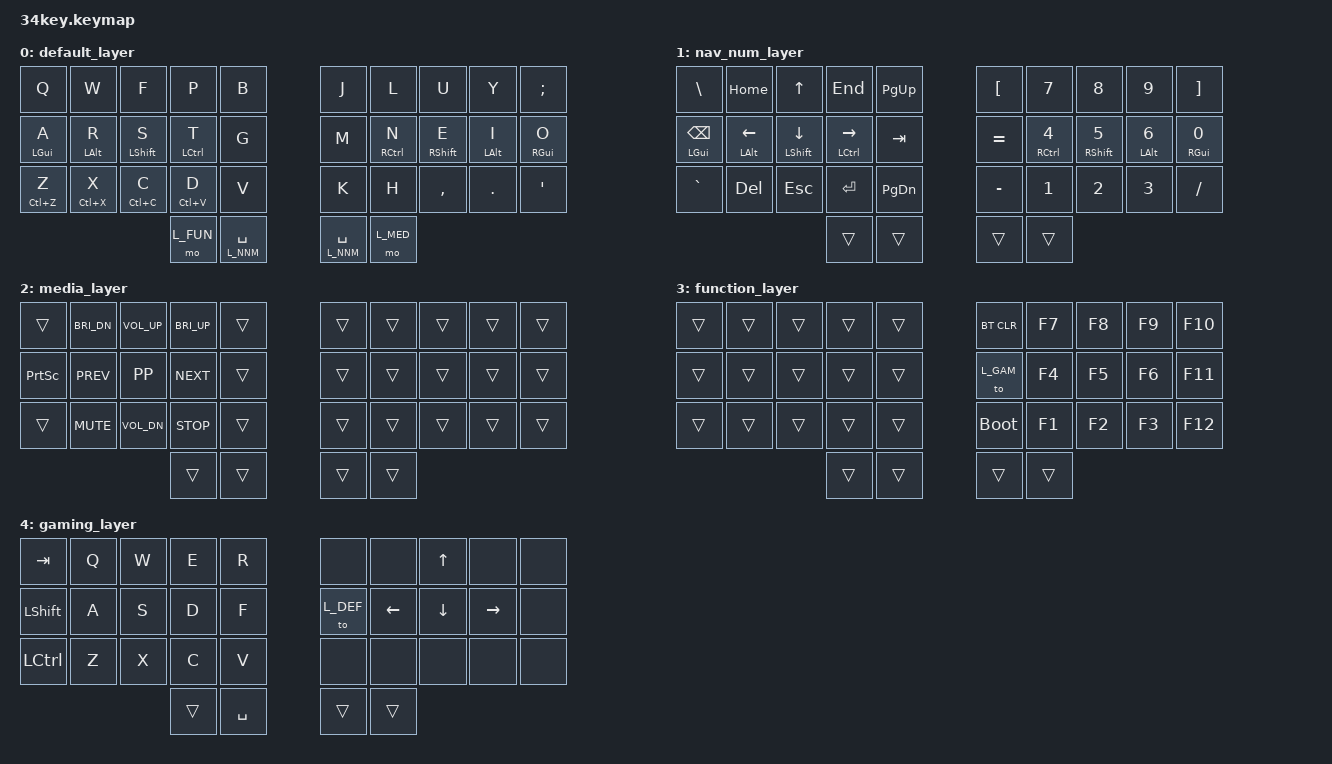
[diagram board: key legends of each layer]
/*
 * Copyright (c) 2020 The ZMK Contributors
 *
 * SPDX-License-Identifier: MIT
 */

#include <behaviors.dtsi>
#include <dt-bindings/zmk/bt.h>
#include <dt-bindings/zmk/keys.h>

// GENERAL KEYS
#define GEN_NONE &none
#define GEN_TRAN &trans

// DEFAULT LAYER

#define L_DEF 0

#define DEF_Q &kp Q
#define DEF_W &kp W
#define DEF_F &kp F
#define DEF_P &kp P
#define DEF_B &kp B
                        
#define DEF_A &lht LGUI A 
#define DEF_R &lht LALT R 
#define DEF_S &lht LSHIFT S
#define DEF_T &lht LCTRL T 
#define DEF_G &kp G
        
#define DEF_Z &mt LC(Z) Z
#define DEF_X &mt LC(X) X
#define DEF_C &mt LC(C) C
#define DEF_D &mt LC(V) D
#define DEF_V &kp V
                        

#define DEF_J &kp J
#define DEF_L &kp L
#define DEF_U &kp U
#define DEF_Y &kp Y
#define DEF_SEMI &kp SEMI

#define DEF_K &kp K
#define DEF_H &kp H
#define DEF_COMA &kp COMMA
#define DEF_DOT &kp DOT
#define DEF_QUOT &kp SQT

#define DEF_M &kp M
#define DEF_N &rht RCTL N 
#define DEF_E &rht RSHIFT E
#define DEF_I &rht LALT I 
#define DEF_O &rht RGUI O


#define DEF_MED &mo L_MED
#define DEF_SPC &lt L_NNM SPC
#define DEF_FUN &mo L_FUN

// NAVIGATION / NUMBER LAYER
#define L_NNM 1

// Left

#define NNM_BSLH &kp BSLH
#define NNM_HOME &kp HOME
#define NNM_UP &kp UP
#define NNM_END &kp END
#define NNM_PGUP &kp PG_UP

#define NNM_BSPC &lht LGUI BSPC
#define NNM_LEFT &lht LALT LEFT
#define NNM_DOWN &lht LSHIFT DOWN
#define NNM_RGHT &lht LCTRL RIGHT
#define NNM_TAB &kp TAB

#define NNM_GRV &kp GRAVE
#define NNM_DEL &kp DEL
#define NNM_ESC &kp ESC
#define NNM_RET &kp RET
#define NNM_PGDN &kp PG_DN

// Right

#define NNM_LBKT &kp LBKT
#define NNM_N7 &kp N7 
#define NNM_N8 &kp N8
#define NNM_N9 &kp N9
#define NNM_RBKT &kp RBKT 

#define NNM_EQUL &kp EQUAL
#define NNM_N4 &rht RCTL N4
#define NNM_N5 &rht RSHIFT N5
#define NNM_N6 &rht LALT N6
#define NNM_N0 &rht RGUI N0

#define NNM_MIN &kp MINUS
#define NNM_N1 &kp N1
#define NNM_N2 &kp N2
#define NNM_N3 &kp N3
#define NNM_FSLH &kp FSLH

// MEDIA LAYER
#define L_MED 2

#define MED_BRID &kp C_BRI_DN
#define MED_VOLU &kp C_VOL_UP
#define MED_BRIU &kp C_BRI_UP

#define MED_PRNT &kp PSCRN
#define MED_PREV &kp C_PREV
#define MED_PLAY &kp K_PP
#define MED_NEXT &kp C_NEXT

#define MED_MUTE &kp C_MUTE
#define MED_VOLD &kp C_VOL_DN
#define MED_STOP &kp C_STOP

// FUNCTION LAYER
#define L_FUN 3

#define FUN_BCLR &bt BT_CLR
#define FUN_F7 &kp F7
#define FUN_F8 &kp F8
#define FUN_F9 &kp F9
#define FUN_F10 &kp F10

#define FUN_GAME &to L_GAM
#define FUN_F4 &kp F4
#define FUN_F5 &kp F5
#define FUN_F6 &kp F6
#define FUN_F11 &kp F11

#define FUN_BOOT &bootloader
#define FUN_F1 &kp F1
#define FUN_F2 &kp F2
#define FUN_F3 &kp F3
#define FUN_F13 &kp F12

// GAMING LAYER
#define L_GAM 4

#define GAM_TAB &kp TAB
#define GAM_Q &kp Q
#define GAM_W &kp W
#define GAM_E &kp E
#define GAM_R &kp R

#define GAM_LSFT &kp LSHIFT
#define GAM_A &kp A
#define GAM_S &kp S
#define GAM_D &kp D
#define GAM_F &kp F

#define GAM_LCTL &kp LCTRL
#define GAM_Z &kp Z
#define GAM_X &kp X
#define GAM_C &kp C
#define GAM_V &kp V


#define GAM_UP &kp UP

#define GAM_DEF &to L_DEF
#define GAM_LEFT &kp LEFT
#define GAM_DOWN &kp DOWN
#define GAM_RGHT &kp RIGHT

#define GAM_ESC &kp ESC
#define GAM_SPC &kp SPACE


&mt {
  flavor = "tap-preferred";
  tapping_term_ms = <180>;
};

&lt {
  flavor = "tap-preferred";
  tapping_term_ms = <180>;
};

/ {
  behaviors {
    lht: left_hand_positional_hold_tap {
        compatible = "zmk,behavior-hold-tap";
        label = "LEFT_POSITIONAL_HOLD_TAP";
        #binding-cells = <2>;
        tapping-term-ms = <200>; 
        quick-tap-ms = <0>;
        flavor = "balanced";
        bindings = <&kp>, <&kp>;
        hold-trigger-key-positions = <2 5 6 7 8 9 12 15 16 17 18 19 25 26 27 28 29 30 31 32 33>;
    };
    rht: right_hand_positional_hold_tap {
        compatible = "zmk,behavior-hold-tap";
        label = "RIGHT_POSITIONAL_HOLD_TAP";
        #binding-cells = <2>;
        tapping-term-ms = <200>;
        quick-tap-ms = <0>;
        flavor = "balanced";
        bindings = <&kp>, <&kp>;
        hold-trigger-key-positions = <0 1 2 3 4 7 10 11 12 13 14 17 20 21 22 23 24 30 31 32 33>;
    };
  };

  keymap {
    compatible = "zmk,keymap";

    default_layer {
      bindings = <
        DEF_Q    DEF_W    DEF_F    DEF_P    DEF_B          DEF_J    DEF_L    DEF_U    DEF_Y    DEF_SEMI
        DEF_A    DEF_R    DEF_S    DEF_T    DEF_G          DEF_M    DEF_N    DEF_E    DEF_I    DEF_O
        DEF_Z    DEF_X    DEF_C    DEF_D    DEF_V          DEF_K    DEF_H    DEF_COMA DEF_DOT  DEF_QUOT
                                   DEF_FUN  DEF_SPC        DEF_SPC  DEF_MED
      >;
    };

    nav_num_layer {
      bindings = <
        NNM_BSLH NNM_HOME NNM_UP   NNM_END  NNM_PGUP       NNM_LBKT NNM_N7    NNM_N8    NNM_N9    NNM_RBKT
        NNM_BSPC NNM_LEFT NNM_DOWN NNM_RGHT NNM_TAB        NNM_EQUL NNM_N4    NNM_N5    NNM_N6    NNM_N0
        NNM_GRV  NNM_DEL  NNM_ESC  NNM_RET  NNM_PGDN       NNM_MIN  NNM_N1    NNM_N2    NNM_N3    NNM_FSLH
                                   GEN_TRAN GEN_TRAN       GEN_TRAN GEN_TRAN
      >;
    };

    media_layer {
      bindings = <
        GEN_TRAN MED_BRID MED_VOLU MED_BRIU GEN_TRAN       GEN_TRAN GEN_TRAN GEN_TRAN GEN_TRAN GEN_TRAN
        MED_PRNT MED_PREV MED_PLAY MED_NEXT GEN_TRAN       GEN_TRAN GEN_TRAN GEN_TRAN GEN_TRAN GEN_TRAN
        GEN_TRAN MED_MUTE MED_VOLD MED_STOP GEN_TRAN       GEN_TRAN GEN_TRAN GEN_TRAN GEN_TRAN GEN_TRAN
                                   GEN_TRAN GEN_TRAN       GEN_TRAN GEN_TRAN
      >;
    };

    function_layer {
      bindings = <
        GEN_TRAN GEN_TRAN GEN_TRAN GEN_TRAN GEN_TRAN       FUN_BCLR FUN_F7   FUN_F8   FUN_F9   FUN_F10
        GEN_TRAN GEN_TRAN GEN_TRAN GEN_TRAN GEN_TRAN       FUN_GAME FUN_F4   FUN_F5   FUN_F6   FUN_F11
        GEN_TRAN GEN_TRAN GEN_TRAN GEN_TRAN GEN_TRAN       FUN_BOOT FUN_F1   FUN_F2   FUN_F3   FUN_F13
                                   GEN_TRAN GEN_TRAN       GEN_TRAN GEN_TRAN
      >;
    };

    gaming_layer {
      bindings = <
        GAM_TAB  GAM_Q    GAM_W    GAM_E    GAM_R       GEN_NONE GEN_NONE GAM_UP   GEN_NONE GEN_NONE
        GAM_LSFT GAM_A    GAM_S    GAM_D    GAM_F       GAM_DEF  GAM_LEFT GAM_DOWN GAM_RGHT GEN_NONE
        GAM_LCTL GAM_Z    GAM_X    GAM_C    GAM_V       GEN_NONE GEN_NONE GEN_NONE GEN_NONE GEN_NONE
                                   GEN_TRAN GAM_SPC     GEN_TRAN GEN_TRAN
      >;
    };

    // empty_layer {
    //   bindings = <
    //     GEN_TRAN GEN_TRAN GEN_TRAN GEN_TRAN GEN_TRAN       GEN_TRAN GEN_TRAN GEN_TRAN GEN_TRAN GEN_TRAN
    //     GEN_TRAN GEN_TRAN GEN_TRAN GEN_TRAN GEN_TRAN       GEN_TRAN GEN_TRAN GEN_TRAN GEN_TRAN GEN_TRAN
    //     GEN_TRAN GEN_TRAN GEN_TRAN GEN_TRAN GEN_TRAN       GEN_TRAN GEN_TRAN GEN_TRAN GEN_TRAN GEN_TRAN
    //                                GEN_TRAN GEN_TRAN       GEN_TRAN GEN_TRAN
    //   >;
    // };

  };
};
